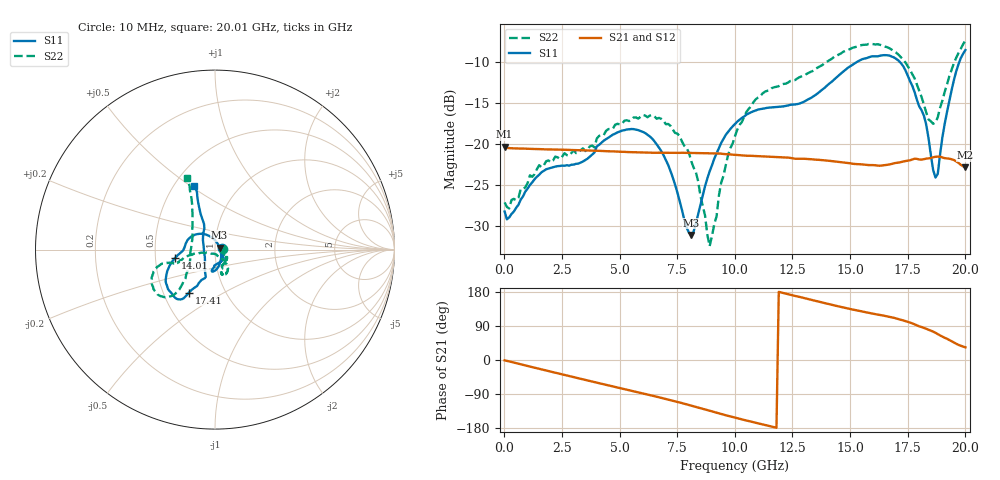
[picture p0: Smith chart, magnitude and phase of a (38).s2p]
! Hittite Microwave Corporation
! 2 Elizabeth Drive
! Chelmsford, MA 01824
! http://www.hittite.com
! Tel: 978-250-3343
! Fax: 978-250-3373
! Device:  HMC424LP3
! Description: 0.5 dB GaAs MMIC 6-Bit Digital Attenuator
! Frequency:  DC -  13.00 GHz
! Package:  LP3  - 3x3 mm Quad Flatpack No-Lead (QFN) Plastic Package: 16 pin
! Ports:  2 RF, 7 DC
!  Pad  1  = Ground
!  Pad  2  = RF IN  = Port 1
!  Pad  3  = Ground
!  Pad  4  = V6
!  Pad  5  = V5
!  Pad  6  = V4
!  Pad  7  = V3
!  Pad  8  = V2
!  Pad  9  = V1
!  Pad 10  = Ground
!  Pad 11  = RF OUT  = Port 2
!  Pad 12  = Ground
!  Pad 15  = VEE
! Control:  -5 Volt control voltage
! State:  36
! Attenuation:  18.0 dB
! Voltages:  Vdd = -5.00 Volts  Idd =  -2.276 mA
!  V1  = 0.00 Volts  I1  =  29.0 uA
!  V2  = 0.00 Volts  I2  =  29.0 uA
!  V3  = -5.00 Volts  I3  =  -1.0 uA
!  V4  = 0.00 Volts  I4  =  29.0 uA
!  V5  = 0.00 Volts  I5  =  29.0 uA
!  V6  = -5.00 Volts  I6  =  -1.0 uA
! Data:  The device was measured on evaluation board 105354-1.
!  Data was collected using a calibrated network analyzer.
!  The evaluation circuit board was modeled and simulated.  This was use
!  to removed the evaluation board circuit from the measured data.
!  The reference plane is the edge of the package pin.
! Misc:  Lot xxxx, Unit 1
!  Application 20120001, Data collected in Application 20090083
! Date Measured:  2009-09-15
! Date:  2012-05-14  MJV
! Note:
!  Hittite supplies this data as a sample of measured data at the package pin
!  for this product.  Your particular data for this product may vary.
!  Data was taken at 25 degrees C.
!  Hittite reserves the right to change this data at anytime.
# GHz S MA R 50
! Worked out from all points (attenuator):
!   201 points, 10 MHz to 20.01 GHz, reference 50 ohm
!   highest |S21| = -20.30 dB at 10 MHz (marker M1); lowest = -22.8 dB at 20.01 GHz (marker M2)
!   lowest |S11| = -31.1 dB at 8.11 GHz (marker M3), VSWR 1.06, Z = 52.6 + j1.23 ohm
!   |S11| at or under -10 dB: start of sweep to 15.3 GHz; 17.17 GHz to 19.75 GHz (2.581 GHz wide, 14 % of centre)
!   |S22| runs from -32.4 to -7.4 dB; largest |S21 - S12| = 0.0027
!   S11 on the Smith chart (normalised r, x): 10 MHz: 1.08, +0.01; 14.01 GHz: 0.63, -0.06; 17.41 GHz: 0.67, -0.35; 20.01 GHz: 0.63, +0.52
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0.01  0.03885 9.9  0.09655 -1.0  0.09395 -1.4  0.04413 7.8
0.21  0.03574 -10.3  0.09446 -3.7  0.0943 -3.8  0.04053 -7.7
1.81  0.07024 -45.8  0.09283 -27.6  0.09282 -27.6  0.07849 -32.4
3.41  0.07828 -79.0  0.09158 -51.0  0.09146 -51.0  0.09411 -54.2
5.31  0.1228 -97.9  0.08947 -78.4  0.08941 -78.4  0.1397 -73.3
6.71  0.09516 -77.9  0.0886 -98.3  0.08842 -98.4  0.1444 -63.5
7.61  0.04489 -40.6  0.08841 -112.2  0.08821 -112.1  0.1116 -51.8
8.11  0.02799 24.6  0.08839 -120.3  0.08819 -120.3  0.07876 -49.9
8.41  0.03734 68.2  0.08815 -125.3  0.08802 -125.3  0.05947 -50.1
8.91  0.0683 104.2  0.08795 -133.8  0.08782 -133.9  0.02388 -104.5
9.41  0.1016 123.1  0.08745 -142.5  0.08733 -142.5  0.05827 -159.7
10.01  0.1325 139.6  0.08602 -152.1  0.08594 -152.1  0.1118 -168.9
11.21  0.1642 165.1  0.08417 -170.0  0.08396 -170.0  0.2038 -162.8
13.41  0.1951 -174.4  0.08059 157.5  0.0804 157.5  0.2797 -164.8
14.01  0.2276 -168.3  0.07927 148.6  0.07915 148.6  0.318 -164.3
15.51  0.3281 -146.8  0.07523 128.3  0.07508 128.3  0.4011 -151.2
16.71  0.3461 -126.9  0.07517 114.1  0.07494 114.1  0.3837 -136.1
17.41  0.2809 -121.3  0.07881 102.6  0.07864 102.6  0.314 -131.8
18.21  0.1489 -111.1  0.08099 84.8  0.08084 84.8  0.174 -148.1
18.71  0.06254 -165.3  0.08368 71.9  0.08352 71.9  0.1353 162.3
19.51  0.2447 110.8  0.07996 46.2  0.07977 46.2  0.3104 114.8
20.01  0.3739 108.0  0.07214 33.4  0.07192 33.2  0.4279 111.2
